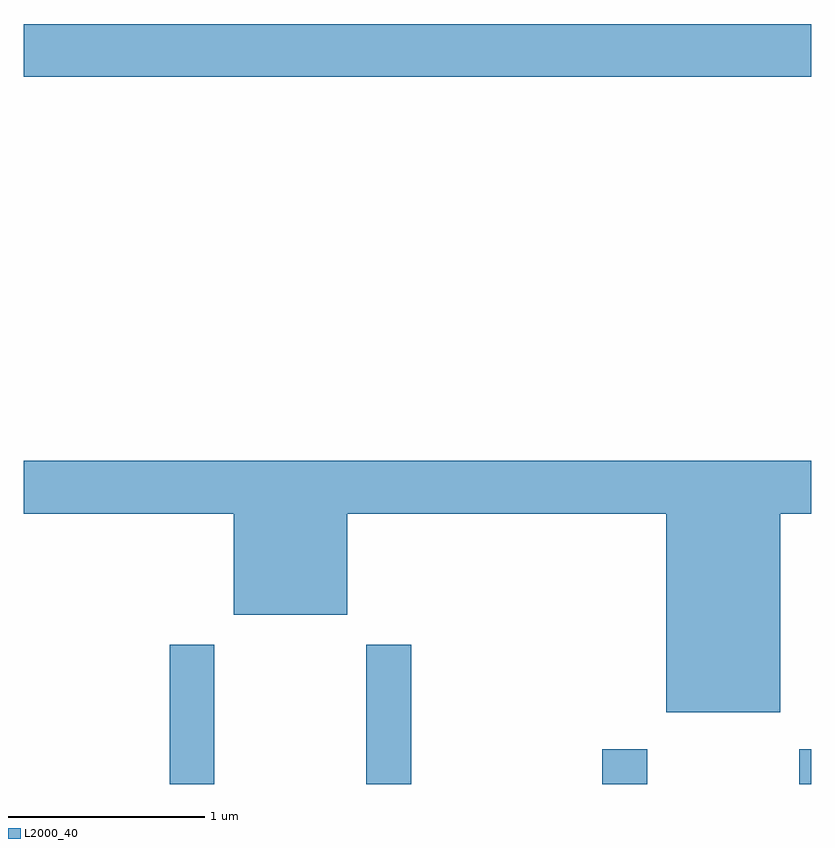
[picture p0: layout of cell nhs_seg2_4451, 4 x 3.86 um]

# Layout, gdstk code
import gdstk
lib = gdstk.Library(unit=1e-6, precision=1e-09)
def R(c, l, rs):  # rectangles x0, y0, x1, y1
    for r in rs: c.add(gdstk.rectangle(r[:2], r[2:], *l))
def P(c, l, *ps):  # polygons
    for p in ps: c.add(gdstk.Polygon(p, *l))
L2000_40 = (2000, 40)

nhs_seg2_4451 = lib.new_cell('nhs_seg2_4451')
R(nhs_seg2_4451, L2000_40, [(316.351,1075.802,316.579,1076.509), (317.351,1075.802,317.579,1076.509), (318.551,1075.802,318.779,1075.979), (319.551,1075.802,319.611,1075.979), (315.611,1079.396,319.611,1079.664)])
P(nhs_seg2_4451, L2000_40, [(319.454,1077.176),(319.611,1077.176),(319.611,1077.444),(315.611,1077.444),(315.611,1077.176),(316.676,1077.176),(316.676,1076.661),(317.254,1076.661),(317.254,1077.176),(318.876,1077.176),(318.876,1076.166),(319.454,1076.166)])

lib.write_gds('nhs_seg2_4451.gds')
